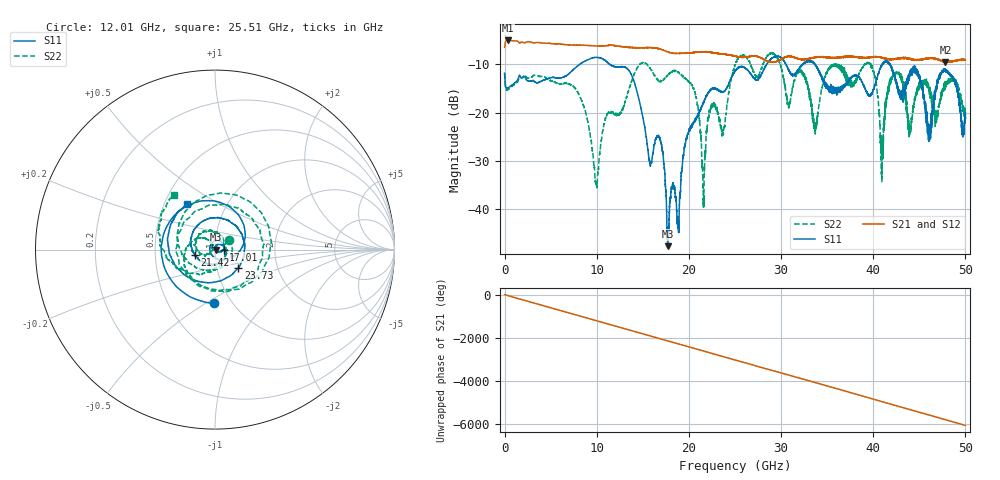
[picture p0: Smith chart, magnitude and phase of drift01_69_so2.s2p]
!Created with skrf (http://scikit-rf.org).
# Hz S RI R 50.0
!freq ReS11 ImS11 ReS21 ImS21 ReS12 ImS12 ReS22 ImS22
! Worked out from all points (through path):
!   10001 points, 300 kHz to 50 GHz, reference 50 ohm
!   highest |S21| = -5.05 dB at 325.3 MHz (marker M1); lowest = -9.6 dB at 47.83 GHz (marker M2)
!   group delay of S21, straight-line fit = 336 ps
!   lowest |S11| = -47.7 dB at 17.69 GHz (marker M3), VSWR 1.01, Z = 50.4 - j0.0887 ohm
!   |S11| at or under -10 dB: start of sweep to 8.153 GHz; 11.42 GHz to 28.42 GHz (16.99 GHz wide, 85.3 % of centre); 41.82 GHz to end of sweep (the widest 3 of 15)
!   |S22| runs from -39.6 to -7.6 dB; largest |S21 - S12| = 0.014
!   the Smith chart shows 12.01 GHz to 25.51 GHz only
!   S11 on the Smith chart (normalised r, x): 12.01 GHz: 0.83, -0.54; 17.01 GHz: 1.10, -0.00; 21.42 GHz: 0.80, -0.05; 23.73 GHz: 1.27, -0.26; 25.51 GHz: 0.65, +0.37
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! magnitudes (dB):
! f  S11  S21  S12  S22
! 300 kHz  -11.8  -6.5  -6.5  -11.8
! 325.3 MHz  -15.0  -5.1  -5.1  -15.3
! 8.335 GHz  -9.7  -6.0  -6.0  -17.4
! 9.945 GHz  -8.6  -6.2  -6.2  -34.7
! 12.01 GHz  -10.5  -6.1  -6.1  -20.4
! 16.67 GHz  -24.7  -6.7  -6.7  -13.3
! 17.01 GHz  -26.4  -6.9  -6.9  -13.6
! 17.69 GHz  -47.7  -7.4  -7.4  -12.3
! 20.47 GHz  -22.3  -7.5  -7.5  -14.9
! 21.42 GHz  -18.7  -7.4  -7.4  -30.0
! 22.48 GHz  -15.1  -7.5  -7.5  -19.0
! 23.73 GHz  -15.7  -7.9  -7.9  -24.5
! 25 GHz  -11.4  -8.3  -8.3  -10.2
! 25.51 GHz  -10.5  -8.5  -8.5  -8.4
! 33.34 GHz  -9.4  -8.7  -8.7  -19.3
! 39.49 GHz  -16.2  -8.6  -8.6  -9.9
! 40.97 GHz  -10.1  -8.6  -8.6  -28.6
! 41.67 GHz  -9.5  -8.9  -8.9  -14.5
! 44.72 GHz  -11.1  -9.1  -9.1  -16.3
! 46.1 GHz  -24.4  -8.7  -8.7  -14.8
! 47.83 GHz  -11.0  -9.6  -9.5  -13.8
! 50 GHz  -21.3  -9.1  -9.1  -20.4
